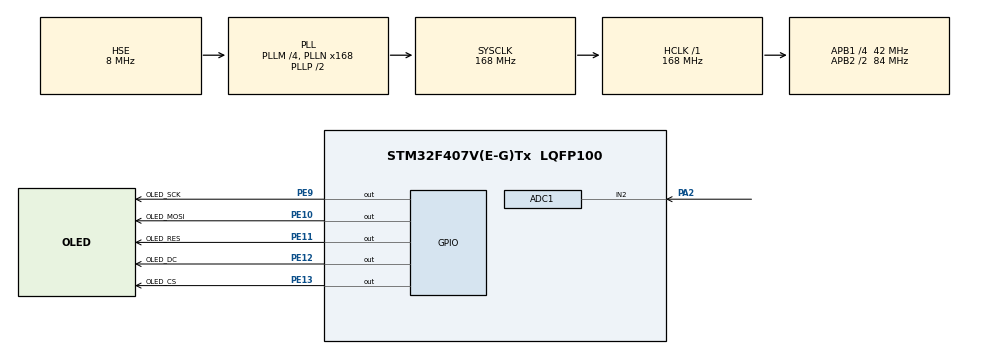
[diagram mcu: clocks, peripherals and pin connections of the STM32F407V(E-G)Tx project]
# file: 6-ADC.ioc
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ADC1.Channel-0\#ChannelRegularConversion=ADC_CHANNEL_2
ADC1.ContinuousConvMode=ENABLE
ADC1.NbrOfConversionFlag=1
ADC1.Rank-0\#ChannelRegularConversion=1
ADC1.SamplingTime-0\#ChannelRegularConversion=ADC_SAMPLETIME_3CYCLES
ADC1.master=1
Mcu.Family=STM32F4
Mcu.Name=STM32F407V(E-G)Tx
Mcu.Package=LQFP100
NVIC.PriorityGroup=NVIC_PRIORITYGROUP_4
PA13.Mode=Serial_Wire
PA13.Signal=SYS_JTMS-SWDIO
PA14.Mode=Serial_Wire
PA14.Signal=SYS_JTCK-SWCLK
PA2.Signal=ADCx_IN2
PE10.GPIO_Label=OLED_MOSI
PE10.GPIO_Speed=GPIO_SPEED_FREQ_MEDIUM
PE10.Signal=GPIO_Output
PE11.GPIO_Label=OLED_RES
PE11.GPIO_Speed=GPIO_SPEED_FREQ_MEDIUM
PE11.Signal=GPIO_Output
PE12.GPIO_Label=OLED_DC
PE12.GPIO_Speed=GPIO_SPEED_FREQ_MEDIUM
PE12.Signal=GPIO_Output
PE13.GPIO_Label=OLED_CS
PE13.GPIO_Speed=GPIO_SPEED_FREQ_MEDIUM
PE13.Signal=GPIO_Output
PE9.GPIO_Label=OLED_SCK
PE9.GPIO_Speed=GPIO_SPEED_FREQ_MEDIUM
PE9.Signal=GPIO_Output
PH0-OSC_IN.Mode=HSE-External-Oscillator
PH0-OSC_IN.Signal=RCC_OSC_IN
PH1-OSC_OUT.Mode=HSE-External-Oscillator
PH1-OSC_OUT.Signal=RCC_OSC_OUT
ProjectManager.HeapSize=0x200
ProjectManager.StackSize=0x400
ProjectManager.TargetToolchain=MDK-ARM V5.32
RCC.48MHZClocksFreq_Value=84000000
RCC.AHBFreq_Value=168000000
RCC.APB1CLKDivider=RCC_HCLK_DIV4
RCC.APB1Freq_Value=42000000
RCC.APB1TimFreq_Value=84000000
RCC.APB2CLKDivider=RCC_HCLK_DIV2
RCC.APB2Freq_Value=84000000
RCC.APB2TimFreq_Value=168000000
RCC.CortexFreq_Value=168000000
RCC.HCLKFreq_Value=168000000
RCC.HSE_VALUE=8000000
RCC.HSI_VALUE=16000000
RCC.LSE_VALUE=32768
RCC.PLLM=4
RCC.PLLN=168
RCC.PLLSourceVirtual=RCC_PLLSOURCE_HSE
RCC.SYSCLKFreq_VALUE=168000000
RCC.SYSCLKSource=RCC_SYSCLKSOURCE_PLLCLK
RCC.VCOOutputFreq_Value=336000000
SH.ADCx_IN2.0=ADC1_IN2,IN2
board=custom

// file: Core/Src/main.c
/* USER CODE BEGIN Header */
/**
  ******************************************************************************
  * @file           : main.c
  * @brief          : Main program body
  ******************************************************************************
  * @attention
  *
  * Copyright (c) 2025 STMicroelectronics.
  * All rights reserved.
  *
  * This software is licensed under terms that can be found in the LICENSE file
  * in the root directory of this software component.
  * If no LICENSE file comes with this software, it is provided AS-IS.
  *
  ******************************************************************************
  */
/* USER CODE END Header */
#include "main.h"
#include "adc.h"
#include "gpio.h"

/* USER CODE BEGIN Includes */
#include "OLED.h"
/* USER CODE END Includes */

void SystemClock_Config(void);

/* USER CODE BEGIN 0 */
volatile int ldr_value = 0;
volatile float voltage = 0.0f;
char oled_buf[20] = {0};
/* USER CODE END 0 */

int main(void)
{

  /* MCU Configuration--------------------------------------------------------*/

  /* Reset of all peripherals, Initializes the Flash interface and the Systick. */
  HAL_Init();

  /* Configure the system clock */
  SystemClock_Config();

  /* Initialize all configured peripherals */
  MX_GPIO_Init();
  MX_ADC1_Init();
  /* USER CODE BEGIN 2 */
  oled_init();
  /* USER CODE END 2 */

  /* Infinite loop */
  while (1)
  {

    /* USER CODE BEGIN 3 */
	oled_showstring(1, 1, "ADC test:");
	oled_showstring(2, 1, "LDR:");

	HAL_ADC_Start(&hadc1);
    HAL_ADC_PollForConversion(&hadc1, HAL_MAX_DELAY);

	ldr_value = HAL_ADC_GetValue(&hadc1);
	voltage = (ldr_value / 4095.0) * 3.3;

	oled_shownum(2, 5, ldr_value, 4);
	sprintf(oled_buf, "voltage:%d.%d", (int)voltage, (int)(voltage * 100) % 100);
	oled_showstring(3, 1, oled_buf);

	HAL_Delay(50);
  }
  /* USER CODE END 3 */
}

void SystemClock_Config(void)
{
  RCC_OscInitTypeDef RCC_OscInitStruct = {0};
  RCC_ClkInitTypeDef RCC_ClkInitStruct = {0};

  /** Configure the main internal regulator output voltage
  */
  __HAL_RCC_PWR_CLK_ENABLE();
  __HAL_PWR_VOLTAGESCALING_CONFIG(PWR_REGULATOR_VOLTAGE_SCALE1);

  /** Initializes the RCC Oscillators according to the specified parameters
  * in the RCC_OscInitTypeDef structure.
  */
  RCC_OscInitStruct.OscillatorType = RCC_OSCILLATORTYPE_HSE;
  RCC_OscInitStruct.HSEState = RCC_HSE_ON;
  RCC_OscInitStruct.PLL.PLLState = RCC_PLL_ON;
  RCC_OscInitStruct.PLL.PLLSource = RCC_PLLSOURCE_HSE;
  RCC_OscInitStruct.PLL.PLLM = 4;
  RCC_OscInitStruct.PLL.PLLN = 168;
  RCC_OscInitStruct.PLL.PLLP = RCC_PLLP_DIV2;
  RCC_OscInitStruct.PLL.PLLQ = 4;
  if (HAL_RCC_OscConfig(&RCC_OscInitStruct) != HAL_OK)
  {
    Error_Handler();
  }

  /** Initializes the CPU, AHB and APB buses clocks
  */
  RCC_ClkInitStruct.ClockType = RCC_CLOCKTYPE_HCLK|RCC_CLOCKTYPE_SYSCLK
                              |RCC_CLOCKTYPE_PCLK1|RCC_CLOCKTYPE_PCLK2;
  RCC_ClkInitStruct.SYSCLKSource = RCC_SYSCLKSOURCE_PLLCLK;
  RCC_ClkInitStruct.AHBCLKDivider = RCC_SYSCLK_DIV1;
  RCC_ClkInitStruct.APB1CLKDivider = RCC_HCLK_DIV4;
  RCC_ClkInitStruct.APB2CLKDivider = RCC_HCLK_DIV2;

  if (HAL_RCC_ClockConfig(&RCC_ClkInitStruct, FLASH_LATENCY_5) != HAL_OK)
  {
    Error_Handler();
  }
}

void Error_Handler(void)
{
  __disable_irq();
  while (1)
  {
  }
}
